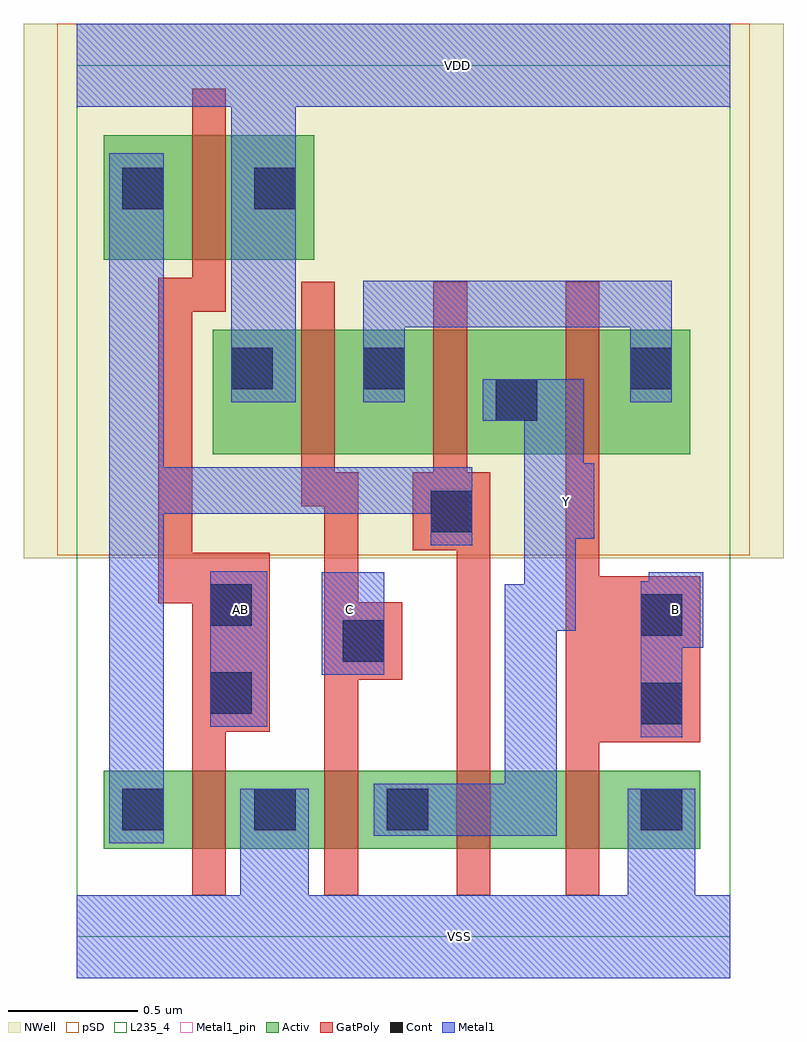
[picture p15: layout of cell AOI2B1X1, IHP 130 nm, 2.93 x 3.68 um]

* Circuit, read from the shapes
.subckt AOI2B1X1 AB B C VDD VSS Y
XM1 VSS AB n1 VSUBS sg13_lv_nmos w=0.3u l=0.13u
XM2 Y C VSS VSUBS sg13_lv_nmos w=0.3u l=0.13u
XM3 n2 n1 Y VSUBS sg13_lv_nmos w=0.3u l=0.13u
XM4 VSS B n2 VSUBS sg13_lv_nmos w=0.3u l=0.13u
XM5 VDD AB n1 n3 sg13_lv_pmos w=0.48u l=0.13u
XM6 n4 C VDD n3 sg13_lv_pmos w=0.48u l=0.13u
XM7 Y n1 n4 n3 sg13_lv_pmos w=0.48u l=0.13u
XM8 n4 B Y n3 sg13_lv_pmos w=0.48u l=0.13u
.ends

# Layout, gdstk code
import gdstk
lib = gdstk.Library(unit=1e-6, precision=1e-09)
def R(c, l, rs):  # rectangles x0, y0, x1, y1
    for r in rs: c.add(gdstk.rectangle(r[:2], r[2:], *l))
def A(c, l, x, y, w, h, nx, ny, dx, dy):  # array of equal rectangles
    R(c, l, [(x+i*dx, y+j*dy, x+i*dx+w, y+j*dy+h) for i in range(nx) for j in range(ny)])
def P(c, l, *ps):  # polygons
    for p in ps: c.add(gdstk.Polygon(p, *l))
Activ = (1, 0)
GatPoly = (5, 0)
Cont = (6, 0)
Metal1 = (8, 0)
Metal1_pin = (8, 2)
pSD = (14, 0)
NWell = (31, 0)
L235_4 = (235, 4)

aoi2b1x1 = lib.new_cell('AOI2B1X1')
R(aoi2b1x1, Activ, [(0.105,0.34,2.405,0.64), (0.525,1.86,2.365,2.34), (0.105,2.61,0.915,3.09)])
P(aoi2b1x1, GatPoly, [(0.955,0.16),(0.955,1.66),(0.865,1.66),(0.865,2.525),(0.995,2.525),(0.995,1.79),(1.085,1.79),(1.085,1.29),(1.255,1.29),(1.255,0.99),(1.085,0.99),(1.085,0.16)],
  [(0.445,0.16),(0.445,1.285),(0.315,1.285),(0.315,2.54),(0.445,2.54),(0.445,3.27),(0.575,3.27),(0.575,2.41),(0.445,2.41),(0.445,1.48),(0.745,1.48),(0.745,0.79),(0.575,0.79),(0.575,0.16)],
  [(1.885,0.16),(1.885,2.525),(2.015,2.525),(2.015,1.39),(2.405,1.39),(2.405,0.75),(2.015,0.75),(2.015,0.16)],
  [(1.465,0.16),(1.465,1.49),(1.295,1.49),(1.295,1.79),(1.375,1.79),(1.375,2.525),(1.505,2.525),(1.505,1.79),(1.595,1.79),(1.595,0.16)])
A(aoi2b1x1, Cont, 0.175, 0.41, 0.16, 0.16, 3, 1, 0.51, 0)
R(aoi2b1x1, Cont, [(2.175,0.41,2.335,0.57), (2.175,0.82,2.335,0.98), (0.515,0.86,0.675,1.02), (1.025,1.06,1.185,1.22), (2.175,1.16,2.335,1.32), (0.515,1.2,0.675,1.36), (1.365,1.56,1.525,1.72), (1.615,1.99,1.775,2.15), (0.595,2.11,0.755,2.27), (1.105,2.11,1.265,2.27), (2.135,2.11,2.295,2.27), (0.175,2.805,0.335,2.965), (0.685,2.805,0.845,2.965)])
R(aoi2b1x1, Metal1, [(0.515,0.81,0.735,1.41), (0.945,1.01,1.185,1.405)])
P(aoi2b1x1, Metal1, [(2.175,0.77),(2.175,1.37),(2.205,1.37),(2.205,1.405),(2.415,1.405),(2.415,1.115),(2.335,1.115),(2.335,0.77)],
  [(0,-0.16),(0,0.16),(0.63,0.16),(0.63,0.57),(0.895,0.57),(0.895,0.16),(2.125,0.16),(2.125,0.57),(2.385,0.57),(2.385,0.16),(2.52,0.16),(2.52,-0.16)],
  [(0.595,2.06),(0.595,3.2),(0,3.2),(0,3.52),(2.52,3.52),(2.52,3.2),(0.845,3.2),(0.845,2.06)],
  [(1.145,0.39),(1.145,0.59),(1.65,0.59),(1.65,1.36),(1.725,1.36),(1.725,1.99),(1.565,1.99),(1.565,2.15),(1.955,2.15),(1.955,1.825),(1.995,1.825),(1.995,1.535),(1.925,1.535),(1.925,1.18),(1.85,1.18),(1.85,0.39)],
  [(0.125,0.36),(0.125,3.02),(0.335,3.02),(0.335,1.81),(1.525,1.81),(1.525,1.51),(1.365,1.51),(1.365,1.63),(0.335,1.63),(0.335,0.36)],
  [(1.105,2.06),(1.105,2.53),(2.295,2.53),(2.295,2.06),(2.135,2.06),(2.135,2.35),(1.265,2.35),(1.265,2.06)])
R(aoi2b1x1, Metal1_pin, [(0.515,0.81,0.735,1.41), (0.945,1.01,1.185,1.405)])
P(aoi2b1x1, Metal1_pin, [(0,-0.16),(0,0.16),(0.63,0.16),(0.63,0.57),(0.895,0.57),(0.895,0.16),(2.125,0.16),(2.125,0.57),(2.385,0.57),(2.385,0.16),(2.52,0.16),(2.52,-0.16)],
  [(1.145,0.39),(1.145,0.59),(1.65,0.59),(1.65,1.36),(1.725,1.36),(1.725,1.99),(1.565,1.99),(1.565,2.15),(1.955,2.15),(1.955,1.825),(1.995,1.825),(1.995,1.535),(1.925,1.535),(1.925,1.18),(1.85,1.18),(1.85,0.39)],
  [(0.595,2.06),(0.595,3.2),(0,3.2),(0,3.52),(2.52,3.52),(2.52,3.2),(0.845,3.2),(0.845,2.06)],
  [(2.175,0.77),(2.175,1.37),(2.205,1.37),(2.205,1.405),(2.415,1.405),(2.415,1.115),(2.335,1.115),(2.335,0.77)])
R(aoi2b1x1, pSD, [(-0.075,1.47,2.595,3.52)])
R(aoi2b1x1, NWell, [(-0.205,1.46,2.725,3.52)])
R(aoi2b1x1, L235_4, [(0,0,2.52,3.36)])
aoi2b1x1.add(gdstk.Label('B', (2.31,1.26), layer=8, texttype=25))
aoi2b1x1.add(gdstk.Label('Y', (1.89,1.68), layer=8, texttype=25))
aoi2b1x1.add(gdstk.Label('VSS', (1.475,0), layer=8, texttype=25))
aoi2b1x1.add(gdstk.Label('VDD', (1.47,3.36), layer=8, texttype=25))
aoi2b1x1.add(gdstk.Label('C', (1.05,1.26), layer=8, texttype=25))
aoi2b1x1.add(gdstk.Label('AB', (0.63,1.26), layer=8, texttype=25))

lib.write_gds('AOI2B1X1.gds')
